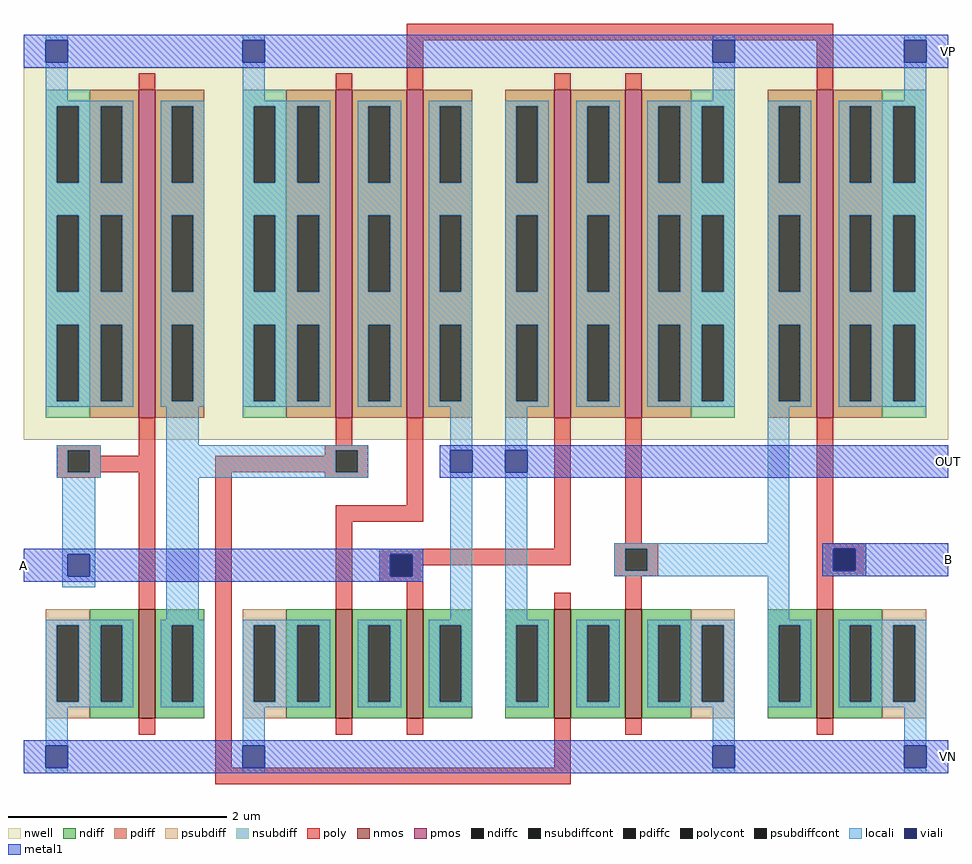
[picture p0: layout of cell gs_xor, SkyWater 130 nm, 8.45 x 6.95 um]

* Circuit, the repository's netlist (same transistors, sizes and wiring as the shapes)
* NGSPICE file created from gs_xor.ext - technology: sky130A

.subckt gs_xor A B OUT VP VN
X0 a_780_0# a_20_0# OUT VN sky130_fd_pr__nfet_01v8 ad=0.25 pd=1.5 as=0.45 ps=2.9 w=1 l=0.15
**devattr s=18000,580 d=10000,300
X1 VN a_860_260# a_780_0# VN sky130_fd_pr__nfet_01v8 ad=0.45 pd=2.9 as=0.25 ps=1.5 w=1 l=0.15
**devattr s=10000,300 d=18000,580
X2 VP a_860_260# a_780_550# VP sky130_fd_pr__pfet_01v8 ad=1.35 pd=6.9 as=0.75 ps=3.5 w=3 l=0.15
**devattr s=30000,700 d=54000,1380
X3 a_780_550# A OUT VP sky130_fd_pr__pfet_01v8 ad=0.75 pd=3.5 as=1.35 ps=6.9 w=3 l=0.15
**devattr s=54000,1380 d=30000,700
X4 a_20_0# A VP VP sky130_fd_pr__pfet_01v8 ad=1.35 pd=6.9 as=1.35 ps=6.9 w=3 l=0.15
**devattr s=54000,1380 d=54000,1380
X5 VP B a_860_260# VP sky130_fd_pr__pfet_01v8 ad=1.35 pd=6.9 as=1.35 ps=6.9 w=3 l=0.15
**devattr s=54000,1380 d=54000,1380
X6 OUT B a_380_550# VP sky130_fd_pr__pfet_01v8 ad=1.35 pd=6.9 as=0.75 ps=3.5 w=3 l=0.15
**devattr s=30000,700 d=54000,1380
X7 a_380_0# B VN VN sky130_fd_pr__nfet_01v8 ad=0.25 pd=1.5 as=0.45 ps=2.9 w=1 l=0.15
**devattr s=18000,580 d=10000,300
X8 a_380_550# a_20_0# VP VP sky130_fd_pr__pfet_01v8 ad=0.75 pd=3.5 as=1.35 ps=6.9 w=3 l=0.15
**devattr s=54000,1380 d=30000,700
X9 OUT A a_380_0# VN sky130_fd_pr__nfet_01v8 ad=0.45 pd=2.9 as=0.25 ps=1.5 w=1 l=0.15
**devattr s=10000,300 d=18000,580
X10 VN B a_860_260# VN sky130_fd_pr__nfet_01v8 ad=0.45 pd=2.9 as=0.45 ps=2.9 w=1 l=0.15
**devattr s=18000,580 d=18000,580
X11 a_20_0# A VN VN sky130_fd_pr__nfet_01v8 ad=0.45 pd=2.9 as=0.45 ps=2.9 w=1 l=0.15
**devattr s=18000,580 d=18000,580
.ends

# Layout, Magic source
magic
tech sky130A
<< nwell >>
rect -110 255 735 595
<< nmos >>
rect -5 0 10 100
rect 175 0 190 100
rect 240 0 255 100
rect 375 0 390 100
rect 440 0 455 100
rect 615 0 630 100
<< pmos >>
rect -5 275 10 575
rect 175 275 190 575
rect 240 275 255 575
rect 375 275 390 575
rect 440 275 455 575
rect 615 275 630 575
<< ndiff >>
rect -50 85 -5 100
rect -50 15 -40 85
rect -20 15 -5 85
rect -50 0 -5 15
rect 10 85 55 100
rect 10 15 25 85
rect 45 15 55 85
rect 10 0 55 15
rect 130 85 175 100
rect 130 15 140 85
rect 160 15 175 85
rect 130 0 175 15
rect 190 85 240 100
rect 190 15 205 85
rect 225 15 240 85
rect 190 0 240 15
rect 255 85 300 100
rect 255 15 270 85
rect 290 15 300 85
rect 255 0 300 15
rect 330 85 375 100
rect 330 15 340 85
rect 360 15 375 85
rect 330 0 375 15
rect 390 85 440 100
rect 390 15 405 85
rect 425 15 440 85
rect 390 0 440 15
rect 455 85 500 100
rect 455 15 470 85
rect 490 15 500 85
rect 455 0 500 15
rect 570 85 615 100
rect 570 15 580 85
rect 600 15 615 85
rect 570 0 615 15
rect 630 85 675 100
rect 630 15 645 85
rect 665 15 675 85
rect 630 0 675 15
<< pdiff >>
rect -50 560 -5 575
rect -50 490 -40 560
rect -20 490 -5 560
rect -50 460 -5 490
rect -50 390 -40 460
rect -20 390 -5 460
rect -50 360 -5 390
rect -50 290 -40 360
rect -20 290 -5 360
rect -50 275 -5 290
rect 10 560 55 575
rect 10 490 25 560
rect 45 490 55 560
rect 10 460 55 490
rect 10 390 25 460
rect 45 390 55 460
rect 10 360 55 390
rect 10 290 25 360
rect 45 290 55 360
rect 10 275 55 290
rect 130 560 175 575
rect 130 490 140 560
rect 160 490 175 560
rect 130 460 175 490
rect 130 390 140 460
rect 160 390 175 460
rect 130 360 175 390
rect 130 290 140 360
rect 160 290 175 360
rect 130 275 175 290
rect 190 560 240 575
rect 190 490 205 560
rect 225 490 240 560
rect 190 460 240 490
rect 190 390 205 460
rect 225 390 240 460
rect 190 360 240 390
rect 190 290 205 360
rect 225 290 240 360
rect 190 275 240 290
rect 255 560 300 575
rect 255 490 270 560
rect 290 490 300 560
rect 255 460 300 490
rect 255 390 270 460
rect 290 390 300 460
rect 255 360 300 390
rect 255 290 270 360
rect 290 290 300 360
rect 255 275 300 290
rect 330 560 375 575
rect 330 490 340 560
rect 360 490 375 560
rect 330 460 375 490
rect 330 390 340 460
rect 360 390 375 460
rect 330 360 375 390
rect 330 290 340 360
rect 360 290 375 360
rect 330 275 375 290
rect 390 560 440 575
rect 390 490 405 560
rect 425 490 440 560
rect 390 460 440 490
rect 390 390 405 460
rect 425 390 440 460
rect 390 360 440 390
rect 390 290 405 360
rect 425 290 440 360
rect 390 275 440 290
rect 455 560 500 575
rect 455 490 470 560
rect 490 490 500 560
rect 455 460 500 490
rect 455 390 470 460
rect 490 390 500 460
rect 455 360 500 390
rect 455 290 470 360
rect 490 290 500 360
rect 455 275 500 290
rect 570 560 615 575
rect 570 490 580 560
rect 600 490 615 560
rect 570 460 615 490
rect 570 390 580 460
rect 600 390 615 460
rect 570 360 615 390
rect 570 290 580 360
rect 600 290 615 360
rect 570 275 615 290
rect 630 560 675 575
rect 630 490 645 560
rect 665 490 675 560
rect 630 460 675 490
rect 630 390 645 460
rect 665 390 675 460
rect 630 360 675 390
rect 630 290 645 360
rect 665 290 675 360
rect 630 275 675 290
<< ndiffc >>
rect -40 15 -20 85
rect 25 15 45 85
rect 140 15 160 85
rect 205 15 225 85
rect 270 15 290 85
rect 340 15 360 85
rect 405 15 425 85
rect 470 15 490 85
rect 580 15 600 85
rect 645 15 665 85
<< pdiffc >>
rect -40 490 -20 560
rect -40 390 -20 460
rect -40 290 -20 360
rect 25 490 45 560
rect 25 390 45 460
rect 25 290 45 360
rect 140 490 160 560
rect 140 390 160 460
rect 140 290 160 360
rect 205 490 225 560
rect 205 390 225 460
rect 205 290 225 360
rect 270 490 290 560
rect 270 390 290 460
rect 270 290 290 360
rect 340 490 360 560
rect 340 390 360 460
rect 340 290 360 360
rect 405 490 425 560
rect 405 390 425 460
rect 405 290 425 360
rect 470 490 490 560
rect 470 390 490 460
rect 470 290 490 360
rect 580 490 600 560
rect 580 390 600 460
rect 580 290 600 360
rect 645 490 665 560
rect 645 390 665 460
rect 645 290 665 360
<< psubdiff >>
rect -90 85 -50 100
rect -90 15 -80 85
rect -60 15 -50 85
rect -90 0 -50 15
rect 90 85 130 100
rect 90 15 100 85
rect 120 15 130 85
rect 90 0 130 15
rect 500 85 540 100
rect 500 15 510 85
rect 530 15 540 85
rect 500 0 540 15
rect 675 85 715 100
rect 675 15 685 85
rect 705 15 715 85
rect 675 0 715 15
<< nsubdiff >>
rect -90 560 -50 575
rect -90 490 -80 560
rect -60 490 -50 560
rect -90 460 -50 490
rect -90 390 -80 460
rect -60 390 -50 460
rect -90 360 -50 390
rect -90 290 -80 360
rect -60 290 -50 360
rect -90 275 -50 290
rect 90 560 130 575
rect 90 490 100 560
rect 120 490 130 560
rect 90 460 130 490
rect 90 390 100 460
rect 120 390 130 460
rect 90 360 130 390
rect 90 290 100 360
rect 120 290 130 360
rect 90 275 130 290
rect 500 560 540 575
rect 500 490 510 560
rect 530 490 540 560
rect 500 460 540 490
rect 500 390 510 460
rect 530 390 540 460
rect 500 360 540 390
rect 500 290 510 360
rect 530 290 540 360
rect 500 275 540 290
rect 675 560 715 575
rect 675 490 685 560
rect 705 490 715 560
rect 675 460 715 490
rect 675 390 685 460
rect 705 390 715 460
rect 675 360 715 390
rect 675 290 685 360
rect 705 290 715 360
rect 675 275 715 290
<< psubdiffcont >>
rect -80 15 -60 85
rect 100 15 120 85
rect 510 15 530 85
rect 685 15 705 85
<< nsubdiffcont >>
rect -80 490 -60 560
rect -80 390 -60 460
rect -80 290 -60 360
rect 100 490 120 560
rect 100 390 120 460
rect 100 290 120 360
rect 510 490 530 560
rect 510 390 530 460
rect 510 290 530 360
rect 685 490 705 560
rect 685 390 705 460
rect 685 290 705 360
<< poly >>
rect 240 620 630 635
rect -5 575 10 590
rect 175 575 190 590
rect 240 575 255 620
rect 375 575 390 590
rect 440 575 455 590
rect 615 575 630 620
rect -80 245 -40 250
rect -80 225 -70 245
rect -50 240 -40 245
rect -5 240 10 275
rect 175 250 190 275
rect 165 245 205 250
rect 165 240 175 245
rect -50 225 10 240
rect -80 220 -40 225
rect -5 100 10 225
rect 65 225 175 240
rect 195 225 205 245
rect -5 -15 10 0
rect 65 -45 80 225
rect 165 220 205 225
rect 240 195 255 275
rect 175 180 255 195
rect 175 100 190 180
rect 375 155 390 275
rect 440 160 455 275
rect 615 160 630 275
rect 215 150 390 155
rect 215 130 225 150
rect 245 140 390 150
rect 430 155 470 160
rect 245 130 255 140
rect 430 135 440 155
rect 460 135 470 155
rect 430 130 470 135
rect 615 155 660 160
rect 615 135 630 155
rect 650 135 660 155
rect 615 130 660 135
rect 215 125 255 130
rect 240 100 255 125
rect 375 100 390 115
rect 440 100 455 130
rect 615 100 630 130
rect 175 -15 190 0
rect 240 -15 255 0
rect 375 -45 390 0
rect 440 -15 455 0
rect 615 -15 630 0
rect 65 -60 390 -45
<< polycont >>
rect -70 225 -50 245
rect 175 225 195 245
rect 225 130 245 150
rect 440 135 460 155
rect 630 135 650 155
<< locali >>
rect -90 620 -70 625
rect -90 565 -70 600
rect 90 620 110 625
rect 90 565 110 600
rect 520 620 540 625
rect 520 565 540 600
rect 695 620 715 625
rect 695 565 715 600
rect -90 560 -10 565
rect -90 490 -80 560
rect -60 490 -40 560
rect -20 490 -10 560
rect -90 460 -10 490
rect -90 390 -80 460
rect -60 390 -40 460
rect -20 390 -10 460
rect -90 360 -10 390
rect -90 290 -80 360
rect -60 290 -40 360
rect -20 290 -10 360
rect -90 285 -10 290
rect 15 560 55 565
rect 15 490 25 560
rect 45 490 55 560
rect 15 460 55 490
rect 15 390 25 460
rect 45 390 55 460
rect 15 360 55 390
rect 15 290 25 360
rect 45 290 55 360
rect 15 285 55 290
rect 90 560 170 565
rect 90 490 100 560
rect 120 490 140 560
rect 160 490 170 560
rect 90 460 170 490
rect 90 390 100 460
rect 120 390 140 460
rect 160 390 170 460
rect 90 360 170 390
rect 90 290 100 360
rect 120 290 140 360
rect 160 290 170 360
rect 90 285 170 290
rect 195 560 235 565
rect 195 490 205 560
rect 225 490 235 560
rect 195 460 235 490
rect 195 390 205 460
rect 225 390 235 460
rect 195 360 235 390
rect 195 290 205 360
rect 225 290 235 360
rect 195 285 235 290
rect 260 560 300 565
rect 260 490 270 560
rect 290 490 300 560
rect 260 460 300 490
rect 260 390 270 460
rect 290 390 300 460
rect 260 360 300 390
rect 260 290 270 360
rect 290 290 300 360
rect 260 285 300 290
rect 20 250 50 285
rect -80 245 -40 250
rect -80 225 -70 245
rect -50 225 -40 245
rect -80 220 -40 225
rect 20 245 205 250
rect 20 225 175 245
rect 195 225 205 245
rect 20 220 205 225
rect 280 245 300 285
rect -75 150 -45 220
rect -75 130 -70 150
rect -50 130 -45 150
rect -75 120 -45 130
rect 20 90 50 220
rect 215 150 255 155
rect 215 130 225 150
rect 245 130 255 150
rect 215 125 255 130
rect 280 90 300 225
rect -90 85 -10 90
rect -90 15 -80 85
rect -60 15 -40 85
rect -20 15 -10 85
rect -90 10 -10 15
rect 15 85 55 90
rect 15 15 25 85
rect 45 15 55 85
rect 15 10 55 15
rect 90 85 170 90
rect 90 15 100 85
rect 120 15 140 85
rect 160 15 170 85
rect 90 10 170 15
rect 195 85 235 90
rect 195 15 205 85
rect 225 15 235 85
rect 195 10 235 15
rect 260 85 300 90
rect 260 15 270 85
rect 290 15 300 85
rect 260 10 300 15
rect 330 560 370 565
rect 330 490 340 560
rect 360 490 370 560
rect 330 460 370 490
rect 330 390 340 460
rect 360 390 370 460
rect 330 360 370 390
rect 330 290 340 360
rect 360 290 370 360
rect 330 285 370 290
rect 395 560 435 565
rect 395 490 405 560
rect 425 490 435 560
rect 395 460 435 490
rect 395 390 405 460
rect 425 390 435 460
rect 395 360 435 390
rect 395 290 405 360
rect 425 290 435 360
rect 395 285 435 290
rect 460 560 540 565
rect 460 490 470 560
rect 490 490 510 560
rect 530 490 540 560
rect 460 460 540 490
rect 460 390 470 460
rect 490 390 510 460
rect 530 390 540 460
rect 460 360 540 390
rect 460 290 470 360
rect 490 290 510 360
rect 530 290 540 360
rect 460 285 540 290
rect 570 560 610 565
rect 570 490 580 560
rect 600 490 610 560
rect 570 460 610 490
rect 570 390 580 460
rect 600 390 610 460
rect 570 360 610 390
rect 570 290 580 360
rect 600 290 610 360
rect 570 285 610 290
rect 635 560 715 565
rect 635 490 645 560
rect 665 490 685 560
rect 705 490 715 560
rect 635 460 715 490
rect 635 390 645 460
rect 665 390 685 460
rect 705 390 715 460
rect 635 360 715 390
rect 635 290 645 360
rect 665 290 685 360
rect 705 290 715 360
rect 635 285 715 290
rect 330 245 350 285
rect 330 90 350 225
rect 570 160 590 285
rect 430 155 590 160
rect 430 135 440 155
rect 460 135 590 155
rect 430 130 590 135
rect 620 155 660 160
rect 620 135 630 155
rect 650 135 660 155
rect 620 130 660 135
rect 570 90 590 130
rect 330 85 370 90
rect 330 15 340 85
rect 360 15 370 85
rect 330 10 370 15
rect 395 85 435 90
rect 395 15 405 85
rect 425 15 435 85
rect 395 10 435 15
rect 460 85 540 90
rect 460 15 470 85
rect 490 15 510 85
rect 530 15 540 85
rect 460 10 540 15
rect 570 85 610 90
rect 570 15 580 85
rect 600 15 610 85
rect 570 10 610 15
rect 635 85 715 90
rect 635 15 645 85
rect 665 15 685 85
rect 705 15 715 85
rect 635 10 715 15
rect -90 -25 -70 10
rect -90 -50 -70 -45
rect 90 -25 110 10
rect 90 -50 110 -45
rect 520 -25 540 10
rect 520 -50 540 -45
rect 695 -25 715 10
rect 695 -50 715 -45
<< viali >>
rect -90 600 -70 620
rect 90 600 110 620
rect 520 600 540 620
rect 695 600 715 620
rect 280 225 300 245
rect -70 130 -50 150
rect 225 130 245 150
rect 330 225 350 245
rect 630 135 650 155
rect -90 -45 -70 -25
rect 90 -45 110 -25
rect 520 -45 540 -25
rect 695 -45 715 -25
<< metal1 >>
rect -110 620 735 625
rect -110 600 -90 620
rect -70 600 90 620
rect 110 600 520 620
rect 540 600 695 620
rect 715 600 735 620
rect -110 595 735 600
rect 270 245 735 250
rect 270 225 280 245
rect 300 225 330 245
rect 350 225 735 245
rect 270 220 735 225
rect 620 155 735 160
rect -110 150 255 155
rect -110 130 -70 150
rect -50 130 225 150
rect 245 130 255 150
rect 620 135 630 155
rect 650 135 735 155
rect 620 130 735 135
rect -110 125 255 130
rect -110 -25 735 -20
rect -110 -45 -90 -25
rect -70 -45 90 -25
rect 110 -45 520 -25
rect 540 -45 695 -25
rect 715 -45 735 -25
rect -110 -50 735 -45
<< labels >>
rlabel metal1 -110 140 -110 140 7 A
port 1 w
rlabel metal1 735 -35 735 -35 7 VN
port 5 w
rlabel metal1 735 235 735 235 7 OUT
port 3 w
rlabel metal1 735 145 735 145 7 B
port 2 w
rlabel metal1 735 610 735 610 7 VP
port 4 w
<< end >>
